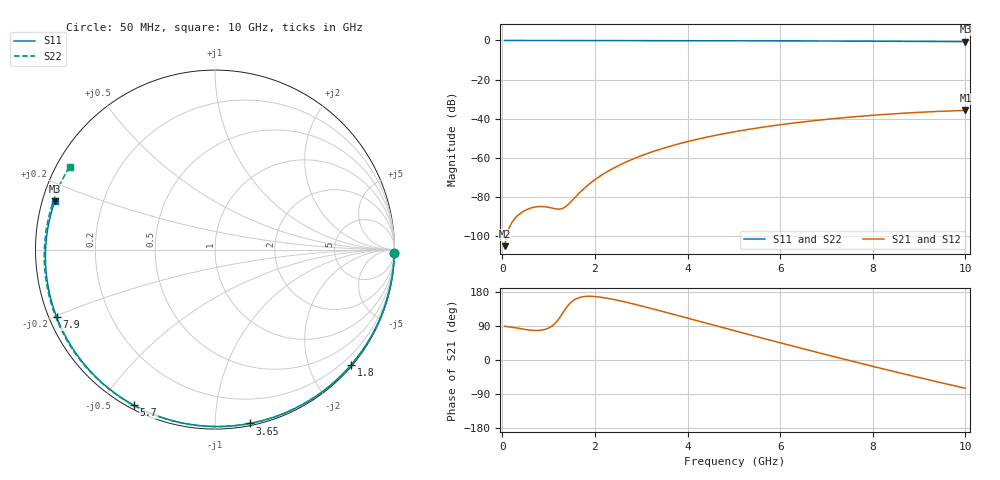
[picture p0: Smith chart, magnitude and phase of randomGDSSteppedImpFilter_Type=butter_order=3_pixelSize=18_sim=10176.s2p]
! freq	dB(S11)	phase(S11)	dB(S12)	phase(S12)
!  dB(S21)	phase(S21)	dB(S22)	phase(S22)
!S-par simulation data
#  GHz  S  DB  R 50
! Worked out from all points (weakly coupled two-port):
!   200 points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, 50 MHz to 10 GHz, reference 50 ohm
!   highest |S21| = -35.80 dB at 10 GHz (marker M1); lowest = -105.3 dB at 50 MHz (marker M2)
!   lowest |S11| = -0.6 dB at 10 GHz (marker M3), VSWR 28.47, Z = 1.79 + j7.4 ohm
!   |S11| at or under -10 dB: nowhere
!   |S22| runs from -0.6 to 0.0 dB; largest |S21 - S12| = 0
!   S11 on the Smith chart (normalised r, x): 50 MHz: open; 1.8 GHz: 0.03, -2.73; 3.65 GHz: 0.02, -1.22; 5.7 GHz: 0.02, -0.61; 7.9 GHz: 0.02, -0.20; 10 GHz: 0.04, +0.15
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0.05  -0.00 -1.1  -105.30 89.1  -105.30 89.1  -0.00 -1.2
0.45  -0.02 -10.2  -87.56 81.5  -87.56 81.5  -0.02 -11.2
0.8  -0.02 -18.1  -85.01 78.3  -85.01 78.3  -0.03 -19.8
1.55  -0.04 -34.8  -80.85 158.4  -80.85 158.4  -0.05 -37.9
1.6  -0.05 -35.8  -79.60 161.8  -79.60 161.8  -0.05 -39.1
1.75  -0.05 -39.1  -76.11 167.1  -76.11 167.1  -0.05 -42.7
1.8  -0.05 -40.2  -75.04 167.8  -75.04 167.8  -0.06 -43.9
2.1  -0.06 -46.7  -69.61 166.2  -69.61 166.2  -0.06 -50.9
2.45  -0.07 -54.1  -64.76 158.6  -64.76 158.6  -0.07 -58.9
2.9  -0.08 -63.5  -59.94 145.8  -59.94 145.8  -0.09 -69.0
3.4  -0.10 -73.7  -55.75 130.1  -55.75 130.1  -0.10 -79.9
3.65  -0.11 -78.7  -53.98 122.0  -53.98 122.0  -0.11 -85.2
4.35  -0.13 -92.3  -49.84 99.0  -49.84 99.0  -0.14 -99.7
5.05  -0.16 -105.6  -46.58 76.0  -46.58 76.0  -0.17 -113.7
5.7  -0.20 -117.5  -44.13 55.0  -44.13 55.0  -0.21 -126.3
6.2  -0.23 -126.5  -42.53 39.0  -42.53 39.0  -0.24 -135.7
6.7  -0.26 -135.5  -41.14 23.3  -41.14 23.3  -0.27 -145.2
7.3  -0.31 -146.2  -39.70 4.6  -39.70 4.6  -0.32 -156.4
7.9  -0.36 -157.0  -38.49 -13.7  -38.49 -13.7  -0.37 -167.7
8.35  -0.41 -165.2  -37.72 -27.2  -37.72 -27.2  -0.42 -176.3
9.2  -0.51 178.9  -36.55 -52.1  -36.55 -52.1  -0.51 166.9
10  -0.61 163.1  -35.80 -74.6  -35.80 -74.6  -0.61 150.3
